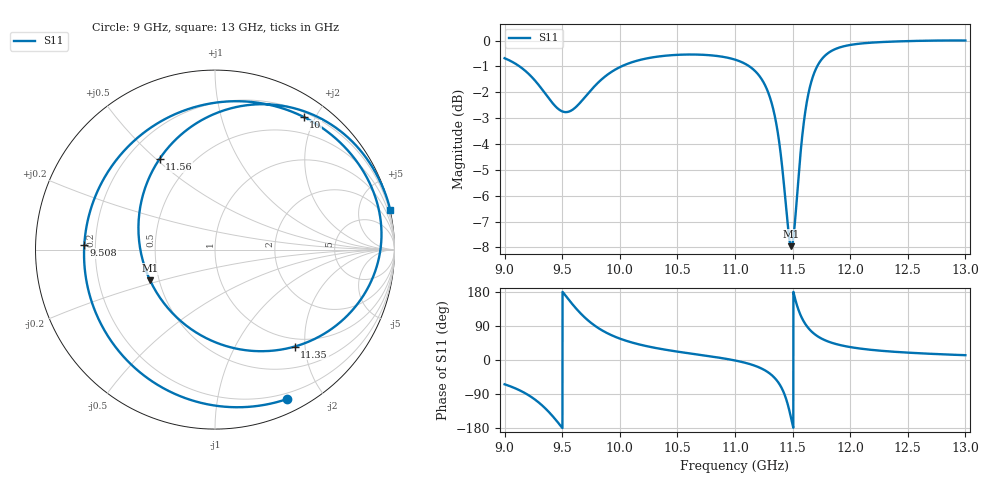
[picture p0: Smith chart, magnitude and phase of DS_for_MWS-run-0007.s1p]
! TOUCHSTONE file generated by CST DESIGN STUDIO
! Date and time: Tue Feb  4 16:00:38 2025
! Project name: C:\Work\MatlabApps\UnitCellOptimizationMatlab\CST\unitcell.cst
! Tree item: Tasks\Sweep1\SPara1\S-Parameters
! Header version: 2024
! Port assignment regex: !\s*Touchstone port\s*([0-9]+)\s*=\s*(CST MWS port|CST DES external port|CST DES block port)\s*(.+)\s* \(\"(.*)\"\)(\s*mode\s*([0-9]+))?.*
! Touchstone port assignment:
! Touchstone port 1 = CST DES external port 1 ("")
# GHz S MA R 50
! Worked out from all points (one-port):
!   4001 points, 9 GHz to 13 GHz, reference 50 ohm
!   lowest |S11| = -8.0 dB at 11.49 GHz (marker M1), VSWR 2.34, Z = 22.3 - j9.09 ohm
!   |S11| at or under -10 dB: nowhere
!   S11 on the Smith chart (normalised r, x): 9 GHz: 0.14, -1.59; 9.508 GHz: 0.16, +0.02; 10 GHz: 0.26, +1.84; 11.35 GHz: 0.85, -1.80; 11.56 GHz: 0.33, +0.51; 13 GHz: -0.02, +9.00
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9  0.9245 -64.1
9.169  0.878 -86.0
9.285  0.8263 -109.4
9.385  0.7726 -137.5
9.5  0.7297 -179.0
9.508  0.7286 177.9
9.62  0.7443 136.1
9.719  0.7876 105.9
9.833  0.8379 80.6
10  0.8885 56.5
10.002  0.889 56.3
10.214  0.9219 37.8
10.5  0.9386 22.1
11  0.9188 -1.2
11.222  0.8482 -21.3
11.294  0.7874 -33.9
11.354  0.6992 -50.6
11.427  0.5207 -88.6
11.488  0.4004 -154.7
11.5  0.4066 -170.9
11.531  0.4764 151.4
11.565  0.5924 121.4
11.637  0.7892 84.1
11.746  0.9162 57.4
11.853  0.9591 44.2
12  0.9809 34.1
12.5  0.9978 19.4
13  1 12.7
